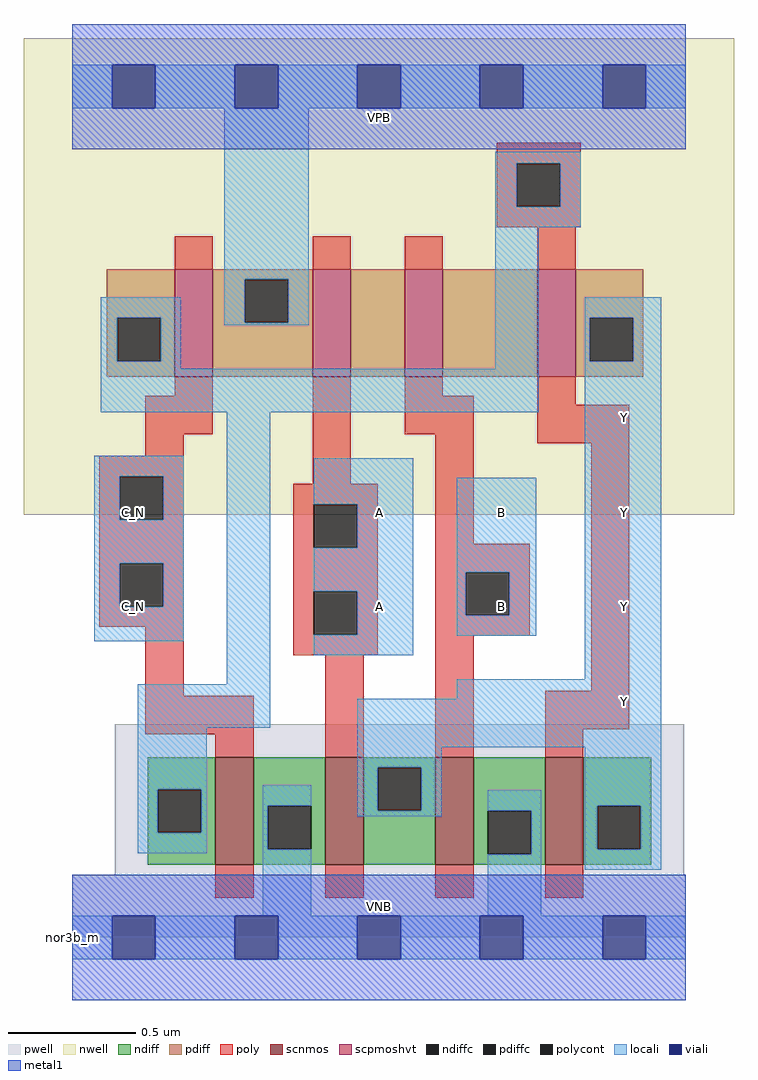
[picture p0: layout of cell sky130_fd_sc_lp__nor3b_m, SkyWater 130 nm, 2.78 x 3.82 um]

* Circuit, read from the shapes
.subckt sky130_fd_sc_lp__nor3b_m A B C_N VGND VNB VPB VPWR Y
XM1 VGND C_N n1 VNB sky130_fd_pr__nfet_01v8 w=0.42 l=0.15
XM2 Y A VGND VNB sky130_fd_pr__nfet_01v8 w=0.42 l=0.15
XM3 VGND B Y VNB sky130_fd_pr__nfet_01v8 w=0.42 l=0.15
XM4 Y n1 VGND VNB sky130_fd_pr__nfet_01v8 w=0.42 l=0.15
XM5 VPWR C_N n1 VPB sky130_fd_pr__pfet_01v8_hvt w=0.42 l=0.15
XM6 n2 A VPWR VPB sky130_fd_pr__pfet_01v8_hvt w=0.42 l=0.15
XM7 n3 B n2 VPB sky130_fd_pr__pfet_01v8_hvt w=0.42 l=0.15
XM8 Y n1 n3 VPB sky130_fd_pr__pfet_01v8_hvt w=0.42 l=0.15
.ends

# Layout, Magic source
magic
tech sky130A
magscale 1 2
<< nwell >>
rect -38 331 518 704
<< pwell >>
rect 33 49 479 167
rect 0 0 480 49
<< scnmos >>
rect 112 57 142 141
rect 198 57 228 141
rect 284 57 314 141
rect 370 57 400 141
<< scpmoshvt >>
rect 80 439 110 523
rect 188 439 218 523
rect 260 439 290 523
rect 364 439 394 523
<< ndiff >>
rect 59 116 112 141
rect 59 82 67 116
rect 101 82 112 116
rect 59 57 112 82
rect 142 103 198 141
rect 142 69 153 103
rect 187 69 198 103
rect 142 57 198 69
rect 228 133 284 141
rect 228 99 239 133
rect 273 99 284 133
rect 228 57 284 99
rect 314 99 370 141
rect 314 65 325 99
rect 359 65 370 99
rect 314 57 370 65
rect 400 103 453 141
rect 400 69 411 103
rect 445 69 453 103
rect 400 57 453 69
<< pdiff >>
rect 27 485 80 523
rect 27 451 35 485
rect 69 451 80 485
rect 27 439 80 451
rect 110 515 188 523
rect 110 481 135 515
rect 169 481 188 515
rect 110 439 188 481
rect 218 439 260 523
rect 290 439 364 523
rect 394 485 447 523
rect 394 451 405 485
rect 439 451 447 485
rect 394 439 447 451
<< ndiffc >>
rect 67 82 101 116
rect 153 69 187 103
rect 239 99 273 133
rect 325 65 359 99
rect 411 69 445 103
<< pdiffc >>
rect 35 451 69 485
rect 135 481 169 515
rect 405 451 439 485
<< poly >>
rect 332 606 398 622
rect 332 572 348 606
rect 382 572 398 606
rect 332 556 398 572
rect 80 523 110 549
rect 188 523 218 549
rect 260 523 290 549
rect 364 523 394 556
rect 80 424 110 439
rect 57 394 110 424
rect 57 377 87 394
rect 21 361 87 377
rect 21 327 37 361
rect 71 327 87 361
rect 188 355 218 439
rect 260 424 290 439
rect 260 394 314 424
rect 21 293 87 327
rect 21 259 37 293
rect 71 259 87 293
rect 21 243 87 259
rect 57 189 87 243
rect 173 339 239 355
rect 173 305 189 339
rect 223 305 239 339
rect 173 271 239 305
rect 173 237 189 271
rect 223 237 239 271
rect 173 221 239 237
rect 284 308 314 394
rect 364 417 394 439
rect 364 387 436 417
rect 284 286 358 308
rect 284 252 308 286
rect 342 252 358 286
rect 284 236 358 252
rect 57 159 142 189
rect 112 141 142 159
rect 198 141 228 221
rect 284 141 314 236
rect 406 193 436 387
rect 370 163 436 193
rect 370 141 400 163
rect 112 31 142 57
rect 198 31 228 57
rect 284 31 314 57
rect 370 31 400 57
<< polycont >>
rect 348 572 382 606
rect 37 327 71 361
rect 37 259 71 293
rect 189 305 223 339
rect 189 237 223 271
rect 308 252 342 286
<< locali >>
rect 0 649 31 683
rect 65 649 127 683
rect 161 649 223 683
rect 257 649 319 683
rect 353 649 415 683
rect 449 649 480 683
rect 119 515 185 649
rect 22 485 85 501
rect 22 451 35 485
rect 69 451 85 485
rect 119 481 135 515
rect 169 481 185 515
rect 119 479 185 481
rect 331 606 398 615
rect 331 572 348 606
rect 382 572 398 606
rect 331 556 398 572
rect 22 445 85 451
rect 331 445 365 556
rect 22 411 365 445
rect 401 485 461 501
rect 401 451 405 485
rect 439 451 461 485
rect 17 361 87 377
rect 17 327 37 361
rect 71 327 87 361
rect 17 293 87 327
rect 17 259 37 293
rect 71 259 87 293
rect 17 232 87 259
rect 121 198 155 411
rect 189 339 267 375
rect 223 305 267 339
rect 189 271 267 305
rect 223 237 267 271
rect 189 221 267 237
rect 301 286 363 360
rect 301 252 308 286
rect 342 252 363 286
rect 301 236 363 252
rect 401 202 461 451
rect 51 164 155 198
rect 301 187 461 202
rect 51 116 105 164
rect 223 149 461 187
rect 223 133 289 149
rect 51 82 67 116
rect 101 82 105 116
rect 51 66 105 82
rect 149 103 187 119
rect 149 69 153 103
rect 223 99 239 133
rect 273 99 289 133
rect 223 95 289 99
rect 325 99 367 115
rect 149 17 187 69
rect 359 65 367 99
rect 325 17 367 65
rect 401 103 461 149
rect 401 69 411 103
rect 445 69 461 103
rect 401 53 461 69
rect 0 -17 31 17
rect 65 -17 127 17
rect 161 -17 223 17
rect 257 -17 319 17
rect 353 -17 415 17
rect 449 -17 480 17
<< viali >>
rect 31 649 65 683
rect 127 649 161 683
rect 223 649 257 683
rect 319 649 353 683
rect 415 649 449 683
rect 31 -17 65 17
rect 127 -17 161 17
rect 223 -17 257 17
rect 319 -17 353 17
rect 415 -17 449 17
<< metal1 >>
rect 0 683 480 715
rect 0 649 31 683
rect 65 649 127 683
rect 161 649 223 683
rect 257 649 319 683
rect 353 649 415 683
rect 449 649 480 683
rect 0 617 480 649
rect 0 17 480 49
rect 0 -17 31 17
rect 65 -17 127 17
rect 161 -17 223 17
rect 257 -17 319 17
rect 353 -17 415 17
rect 449 -17 480 17
rect 0 -49 480 -17
<< labels >>
flabel pwell s 0 0 480 49 0 FreeSans 200 0 0 0 VNB
port 5 nsew ground bidirectional
flabel nwell s 0 617 480 666 0 FreeSans 200 0 0 0 VPB
port 6 nsew power bidirectional
rlabel comment s 0 0 0 0 4 nor3b_m
flabel metal1 s 0 617 480 666 0 FreeSans 340 0 0 0 VPWR
port 7 nsew power bidirectional
flabel metal1 s 0 0 480 49 0 FreeSans 340 0 0 0 VGND
port 4 nsew ground bidirectional
flabel locali s 223 242 257 276 0 FreeSans 340 0 0 0 A
port 1 nsew signal input
flabel locali s 223 316 257 350 0 FreeSans 340 0 0 0 A
port 1 nsew signal input
flabel locali s 415 168 449 202 0 FreeSans 340 0 0 0 Y
port 8 nsew signal output
flabel locali s 319 242 353 276 0 FreeSans 340 0 0 0 B
port 2 nsew signal input
flabel locali s 319 316 353 350 0 FreeSans 340 0 0 0 B
port 2 nsew signal input
flabel locali s 31 242 65 276 0 FreeSans 340 0 0 0 C_N
port 3 nsew signal input
flabel locali s 31 316 65 350 0 FreeSans 340 0 0 0 C_N
port 3 nsew signal input
flabel locali s 415 316 449 350 0 FreeSans 340 0 0 0 Y
port 8 nsew signal output
flabel locali s 415 390 449 424 0 FreeSans 340 0 0 0 Y
port 8 nsew signal output
flabel locali s 415 242 449 276 0 FreeSans 340 0 0 0 Y
port 8 nsew signal output
<< properties >>
string LEFsite unit
string LEFclass CORE
string FIXED_BBOX 0 0 480 666
string GDS_FILE $PDKPATH/libs.ref/sky130_fd_sc_lp/gds/sky130_fd_sc_lp.gds
string LEFsymmetry X Y R90
string GDS_END 1229840
string GDS_START 1224226
<< end >>
